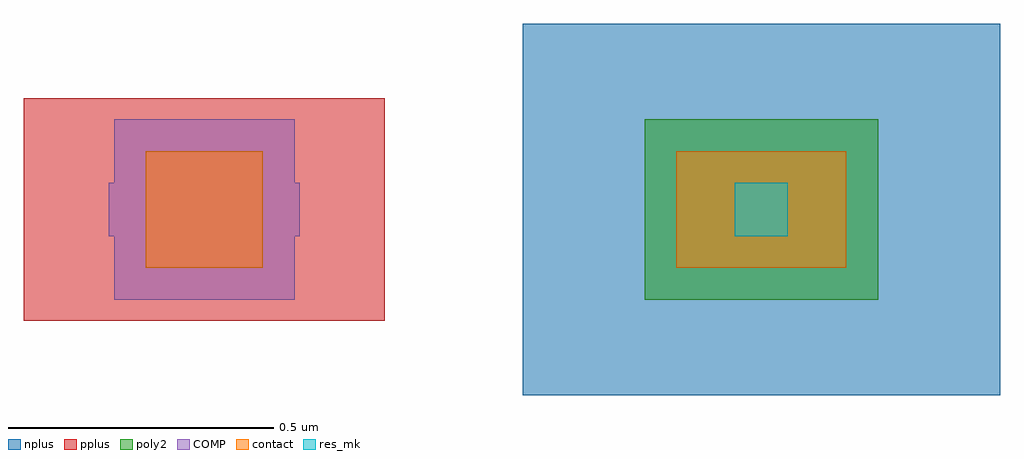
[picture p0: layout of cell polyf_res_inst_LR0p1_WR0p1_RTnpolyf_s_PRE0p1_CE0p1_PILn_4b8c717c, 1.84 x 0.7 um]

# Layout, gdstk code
import gdstk
lib = gdstk.Library(unit=1e-6, precision=1e-09)
def R(c, l, rs):  # rectangles x0, y0, x1, y1
    for r in rs: c.add(gdstk.rectangle(r[:2], r[2:], *l))
COMP = (22, 0)
poly2 = (30, 0)
pplus = (31, 0)
nplus = (32, 0)
contact = (33, 0)
res_mk = (110, 5)

rectangle_gdsfactorypcom = lib.new_cell('rectangle_gdsfactorypcomponentspshapesprectangle_S0p1_0_9a16bc71')
R(rectangle_gdsfactorypcom, res_mk, [(0,0,0.1,0.1)])

c_rectangle_gdsfactorypcom = lib.new_cell('rectangle_gdsfactorypcomponentspshapesprectangle_S0p300_dc804c75')
R(c_rectangle_gdsfactorypcom, poly2, [(0,0,0.3,0.1)])

c_rectangle_gdsfactorypcom_ = lib.new_cell('rectangle_gdsfactorypcomponentspshapesprectangle_S0p22__bfea7709')
R(c_rectangle_gdsfactorypcom_, contact, [(0,0,0.22,0.22)])

via_generator_xrm0p1_0p1 = lib.new_cell('via_generator_XRm0p1_0p1_YR0_0p1_VS0p22_0p22_VLcontact__76f51adf')
via_generator_xrm0p1_0p1.add(gdstk.Reference(c_rectangle_gdsfactorypcom_, (-0.11,-0.06)))

c_rectangle_gdsfactorypcom__ = lib.new_cell('rectangle_gdsfactorypcomponentspshapesprectangle_S0p339_f4050e4b')
R(c_rectangle_gdsfactorypcom__, poly2, [(0,0,0.34,0.34)])

via_stack_xrm0p1_0p1_yr0 = lib.new_cell('via_stack_XRm0p1_0p1_YR0_0p1_ML1_CS0p22_0p22_CE0p07_ME0_5fb40eeb')
via_stack_xrm0p1_0p1_yr0.add(gdstk.Reference(via_generator_xrm0p1_0p1, (0,0)))
via_stack_xrm0p1_0p1_yr0.add(gdstk.Reference(c_rectangle_gdsfactorypcom__, (-0.17,-0.12)))

c_rectangle_gdsfactorypcom___ = lib.new_cell('rectangle_gdsfactorypcomponentspshapesprectangle_S0p9_0_c251359f')
R(c_rectangle_gdsfactorypcom___, nplus, [(0,0,0.9,0.7)])

c_rectangle_gdsfactorypcom____ = lib.new_cell('rectangle_gdsfactorypcomponentspshapesprectangle_S0p36__b404f8e0')
R(c_rectangle_gdsfactorypcom____, COMP, [(0,0,0.36,0.1)])

via_generator_xrm1p18_m0 = lib.new_cell('via_generator_XRm1p18_m0p8200000000000001_YR0_0p1_VS0p2_9f009181')
via_generator_xrm1p18_m0.add(gdstk.Reference(c_rectangle_gdsfactorypcom_, (-1.11,-0.06)))

c_rectangle_gdsfactorypcom_____ = lib.new_cell('rectangle_gdsfactorypcomponentspshapesprectangle_S0p340_947281d9')
R(c_rectangle_gdsfactorypcom_____, COMP, [(0,0,0.34,0.34)])

via_stack_xrm1p18_m0p820 = lib.new_cell('via_stack_XRm1p18_m0p8200000000000001_YR0_0p1_ML1_CS0p2_76653b09')
via_stack_xrm1p18_m0p820.add(gdstk.Reference(via_generator_xrm1p18_m0, (0,0)))
via_stack_xrm1p18_m0p820.add(gdstk.Reference(c_rectangle_gdsfactorypcom_____, (-1.17,-0.12)))

c_rectangle_gdsfactorypcom______ = lib.new_cell('rectangle_gdsfactorypcomponentspshapesprectangle_S0p679_8bcf9a1e')
R(c_rectangle_gdsfactorypcom______, pplus, [(0,0,0.68,0.42)])

polyf_res_inst_lr0p1_wr0 = lib.new_cell('polyf_res_inst_LR0p1_WR0p1_RTnpolyf_s_PRE0p1_CE0p1_PILn_4b8c717c')
polyf_res_inst_lr0p1_wr0.add(gdstk.Reference(rectangle_gdsfactorypcom, (0,0)))
polyf_res_inst_lr0p1_wr0.add(gdstk.Reference(c_rectangle_gdsfactorypcom, (-0.1,0)))
r = gdstk.Reference(via_stack_xrm0p1_0p1_yr0, (0,0)); r.repetition = gdstk.Repetition(2, 1, v1=(0.1,0), v2=(0,0)); polyf_res_inst_lr0p1_wr0.add(r)
polyf_res_inst_lr0p1_wr0.add(gdstk.Reference(c_rectangle_gdsfactorypcom___, (-0.4,-0.3)))
polyf_res_inst_lr0p1_wr0.add(gdstk.Reference(c_rectangle_gdsfactorypcom____, (-1.18,0)))
polyf_res_inst_lr0p1_wr0.add(gdstk.Reference(via_stack_xrm1p18_m0p820, (0,0)))
polyf_res_inst_lr0p1_wr0.add(gdstk.Reference(c_rectangle_gdsfactorypcom______, (-1.34,-0.16)))

lib.write_gds('polyf_res_inst_LR0p1_WR0p1_RTnpolyf_s_PRE0p1_CE0p1_PILn_4b8c717c.gds')
